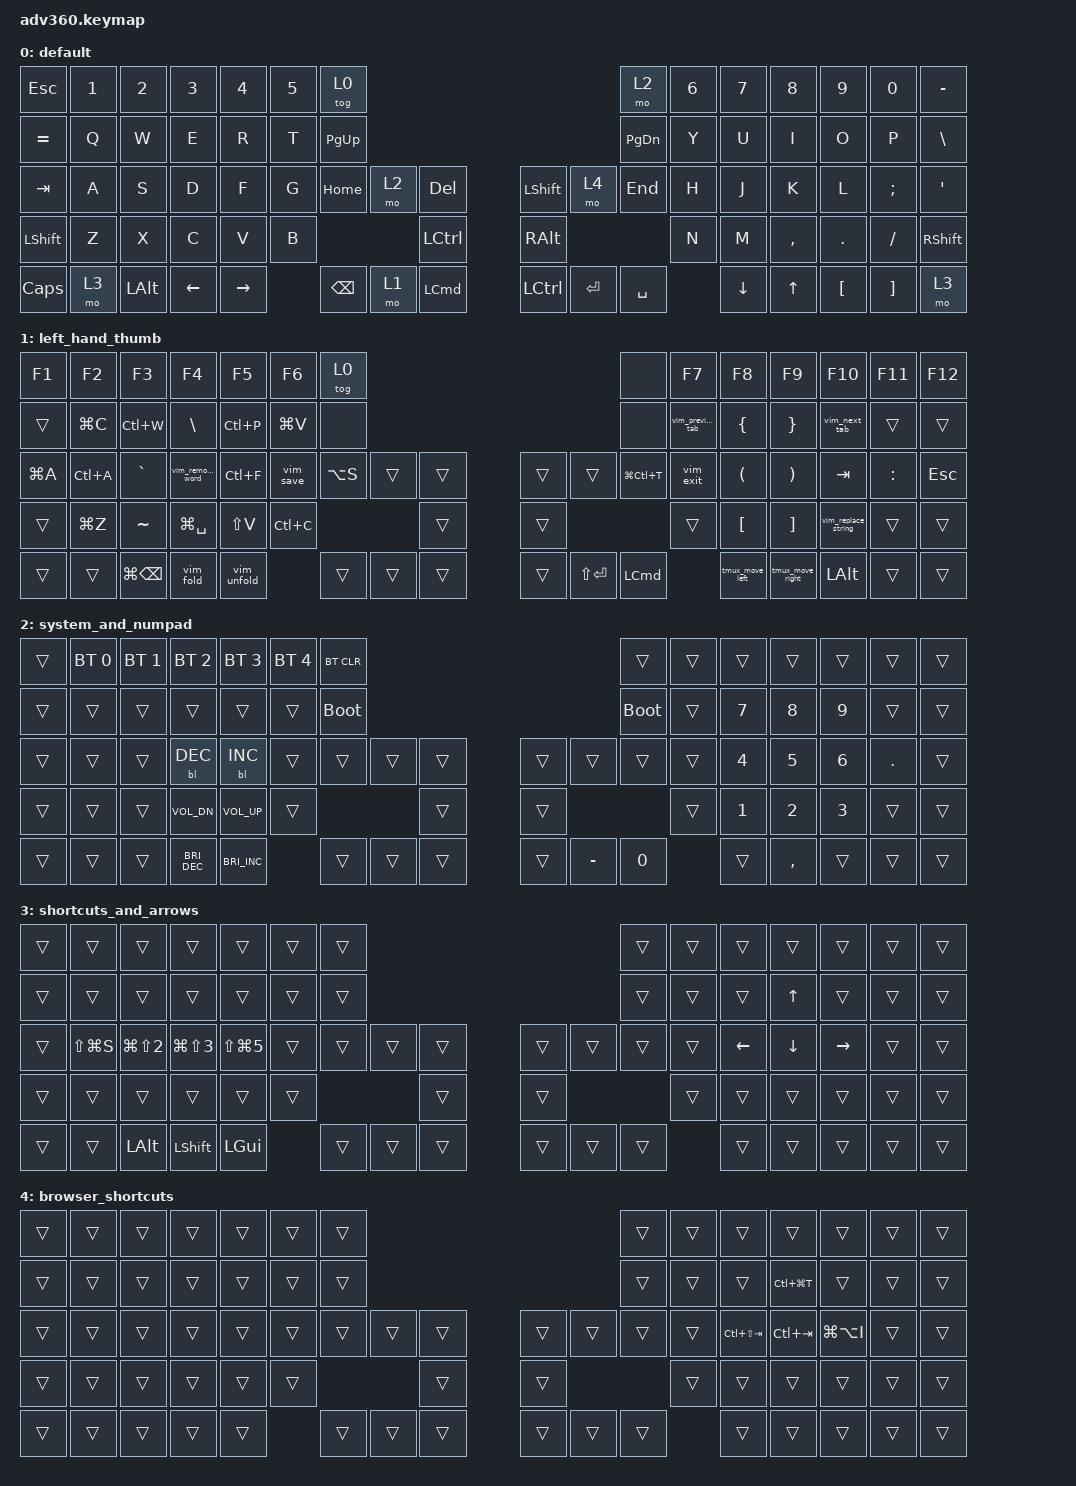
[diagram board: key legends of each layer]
/*
 * Copyright (c) 2020 The ZMK Contributors
 *
 * SPDX-License-Identifier: MIT
 */
/* THIS FILE WAS GENERATED!
 *
 * This file was generated automatically. You may or may not want to
 * edit it directly.
 */

#include <behaviors.dtsi>
#include <dt-bindings/zmk/backlight.h>
#include <dt-bindings/zmk/bt.h>
#include <dt-bindings/zmk/keys.h>

/ {
    behaviors {
        #include "macros.dtsi"
    #include "version.dtsi"

        hm: homerow_mods {
            compatible = "zmk,behavior-hold-tap";
            label = "HOMEROW_MODS";
            #binding-cells = <2>;
            tapping-term-ms = <200>;
            quick_tap_ms = <175>;
            flavor = "tap-preferred";
            bindings = <&kp>, <&kp>;
        };
    };

    combos {
        compatible = "zmk,combos";

        underscore {
            bindings = <&kp UNDERSCORE>;
            key-positions = <31 30>;
            timeout-ms = <40>;
            layers = <0>;
        };

        dash {
            bindings = <&kp MINUS>;
            key-positions = <31 32>;
            timeout-ms = <40>;
            layers = <0>;
        };

        equal {
            bindings = <&kp EQUAL>;
            key-positions = <42 43>;
            timeout-ms = <30>;
            layers = <0>;
        };

        escape {
            bindings = <&kp ESC>;
            key-positions = <41 42>;
            layers = <0>;
            timeout-ms = <30>;
        };
    };

    macros {
        vim_remove_word: remove_word_in_vim {
            compatible = "zmk,behavior-macro";
            #binding-cells = <0>;
            bindings = <&kp D &kp W>;
            label = "REMOVE_WORD_IN_VIM";
        };

        vim_save: vim_save_no_exit {
            compatible = "zmk,behavior-macro";
            #binding-cells = <0>;
            bindings = <&kp COLON &kp W &kp ENTER>;
            label = "VIM_SAVE_NO_EXIT";
        };

        vim_exit: vim_exit_with_save {
            compatible = "zmk,behavior-macro";
            #binding-cells = <0>;
            bindings = <&kp COLON &kp Q &kp ENTER>;
            label = "VIM_EXIT_WITH_SAVE";
        };

        vim_fold: vim_fold {
            compatible = "zmk,behavior-macro";
            #binding-cells = <0>;
            bindings = <&kp Z &kp C>;
            label = "VIM_FOLD";
        };

        vim_unfold: vim_unfold {
            compatible = "zmk,behavior-macro";
            #binding-cells = <0>;
            bindings = <&kp Z &kp LS(A)>;
            label = "VIM_UNFOLD";
        };

        vim_remove_word_insert: vim_remove_word_insert {
            compatible = "zmk,behavior-macro";
            #binding-cells = <0>;
            bindings = <&kp C &kp W>;
            label = "VIM_REMOVE_WORD_INSERT";
        };

        vim_replace_string: vim_replace_string {
            compatible = "zmk,behavior-macro";
            #binding-cells = <0>;
            bindings = <&kp COLON &kp S &kp FSLH>;
            label = "VIM_REPLACE_STRING";
        };

        vim_next_tab: vim_next_tab {
            compatible = "zmk,behavior-macro";
            #binding-cells = <0>;
            bindings = <&kp BACKSLASH &kp T>;
            label = "VIM_NEXT_TAB";
        };

        vim_previous_tab: vim_previous_tab {
            compatible = "zmk,behavior-macro";
            #binding-cells = <0>;
            bindings = <&kp BACKSLASH &kp LS(T)>;
            label = "VIM_PREVIOUS_TAB";
        };

        translate_with_mate: translate_with_mate {
            compatible = "zmk,behavior-macro";
            #binding-cells = <0>;
            bindings = <&kp LG(LC(T)) &kp LG(V) &kp ENTER>;
            label = "TRANSLATE_WITH_MATE";
            wait-ms = <20>;
        };

        tmux_move_right: tmux_move_right {
            compatible = "zmk,behavior-macro";
            #binding-cells = <0>;
            bindings = <&kp LC(A) &kp LC(L)>;
            label = "TMUX_MOVE_RIGHT";
        };

        tmux_move_left: tmux_move_left {
            compatible = "zmk,behavior-macro";
            #binding-cells = <0>;
            bindings = <&kp LC(A) &kp LC(H)>;
            label = "TMUX_MOVE_LEFT";
        };
    };

    keymap {
        compatible = "zmk,keymap";

        default {
            bindings = <
&kp ESCAPE  &kp N1  &kp N2    &kp N3    &kp N4     &kp N5  &tog 0                                                                   &mo 2          &kp N6  &kp N7    &kp N8     &kp N9    &kp N0    &kp MINUS
&kp EQUAL   &kp Q   &kp W     &kp E     &kp R      &kp T   &kp PAGE_UP                                                              &kp PAGE_DOWN  &kp Y   &kp U     &kp I      &kp O     &kp P     &kp BSLH
&kp TAB     &kp A   &kp S     &kp D     &kp F      &kp G   &kp HOME       &mo 2  &kp DELETE            &kp LEFT_SHIFT    &mo 4      &kp END        &kp H   &kp J     &kp K      &kp L     &kp SEMI  &kp SQT
&kp LSHFT   &kp Z   &kp X     &kp C     &kp V      &kp B                         &kp LCTRL             &kp RALT                                    &kp N   &kp M     &kp COMMA  &kp DOT   &kp FSLH  &kp RSHFT
&kp CAPS    &mo 3   &kp LALT  &kp LEFT  &kp RIGHT          &kp BACKSPACE  &mo 1  &kp LEFT_COMMAND      &kp LEFT_CONTROL  &kp ENTER  &kp SPACE              &kp DOWN  &kp UP     &kp LBKT  &kp RBKT  &mo 3
            >;
        };

        left_hand_thumb {
            bindings = <
&kp F1     &kp F2     &kp F3             &kp F4            &kp F5       &kp F6     &tog 0                                                &none             &kp F7             &kp F8                &kp F9                 &kp F10              &kp F11    &kp F12
&trans     &kp LG(C)  &kp LC(W)          &kp BACKSLASH     &kp LC(P)    &kp LG(V)  &none                                                 &none             &vim_previous_tab  &kp LEFT_BRACE        &kp RIGHT_BRACE        &vim_next_tab        &trans     &trans
&kp LG(A)  &kp LC(A)  &kp GRAVE          &vim_remove_word  &kp LC(F)    &vim_save  &kp LA(S)  &trans  &trans      &trans  &trans         &kp LG(LC(T))     &vim_exit          &kp LEFT_PARENTHESIS  &kp RIGHT_PARENTHESIS  &kp TAB              &kp COLON  &kp ESCAPE
&trans     &kp LG(Z)  &kp TILDE          &kp LG(SPACE)     &kp LS(V)    &kp LC(C)                     &trans      &trans                                   &trans             &kp LEFT_BRACKET      &kp RIGHT_BRACKET      &vim_replace_string  &trans     &trans
&trans     &trans     &kp LG(BACKSPACE)  &vim_fold         &vim_unfold             &trans     &trans  &trans      &trans  &kp LS(ENTER)  &kp LEFT_COMMAND                     &tmux_move_left       &tmux_move_right       &kp LALT             &trans     &trans
            >;
        };

        system_and_numpad {
            bindings = <
&trans  &bt BT_SEL 0  &bt BT_SEL 1  &bt BT_SEL 2   &bt BT_SEL 3   &bt BT_SEL 4  &bt BT_CLR                                          &trans       &trans  &trans  &trans     &trans  &trans   &trans
&trans  &trans        &trans        &trans         &trans         &trans        &bootloader                                         &bootloader  &trans  &kp N7  &kp N8     &kp N9  &trans   &trans
&trans  &trans        &trans        &bl BL_DEC     &bl BL_INC     &trans        &trans       &trans  &trans      &trans  &trans     &trans       &trans  &kp N4  &kp N5     &kp N6  &kp DOT  &trans
&trans  &trans        &trans        &kp C_VOL_DN   &kp C_VOL_UP   &trans                             &trans      &trans                          &trans  &kp N1  &kp N2     &kp N3  &trans   &trans
&trans  &trans        &trans        &kp C_BRI_DEC  &kp C_BRI_INC                &trans       &trans  &trans      &trans  &kp MINUS  &kp N0               &trans  &kp COMMA  &trans  &trans   &trans
            >;
        };

        shortcuts_and_arrows {
            bindings = <
&trans  &trans         &trans                &trans                &trans          &trans  &trans                                      &trans  &trans  &trans    &trans    &trans     &trans  &trans
&trans  &trans         &trans                &trans                &trans          &trans  &trans                                      &trans  &trans  &trans    &kp UP    &trans     &trans  &trans
&trans  &kp LS(LG(S))  &kp LG(LS(NUMBER_2))  &kp LG(LS(NUMBER_3))  &kp LS(LG(N5))  &trans  &trans  &trans  &trans      &trans  &trans  &trans  &trans  &kp LEFT  &kp DOWN  &kp RIGHT  &trans  &trans
&trans  &trans         &trans                &trans                &trans          &trans                  &trans      &trans                  &trans  &trans    &trans    &trans     &trans  &trans
&trans  &trans         &kp LEFT_ALT          &kp LEFT_SHIFT        &kp LEFT_GUI            &trans  &trans  &trans      &trans  &trans  &trans          &trans    &trans    &trans     &trans  &trans
            >;
        };

        browser_shortcuts {
            bindings = <
&trans  &trans  &trans  &trans  &trans  &trans  &trans                                      &trans  &trans  &trans           &trans         &trans         &trans  &trans
&trans  &trans  &trans  &trans  &trans  &trans  &trans                                      &trans  &trans  &trans           &kp LC(LG(T))  &trans         &trans  &trans
&trans  &trans  &trans  &trans  &trans  &trans  &trans  &trans  &trans      &trans  &trans  &trans  &trans  &kp LC(LS(TAB))  &kp LC(TAB)    &kp LG(LA(I))  &trans  &trans
&trans  &trans  &trans  &trans  &trans  &trans                  &trans      &trans                  &trans  &trans           &trans         &trans         &trans  &trans
&trans  &trans  &trans  &trans  &trans          &trans  &trans  &trans      &trans  &trans  &trans          &trans           &trans         &trans         &trans  &trans
            >;
        };
    };

    conditional_layers { compatible = "zmk,conditional-layers"; };
};
